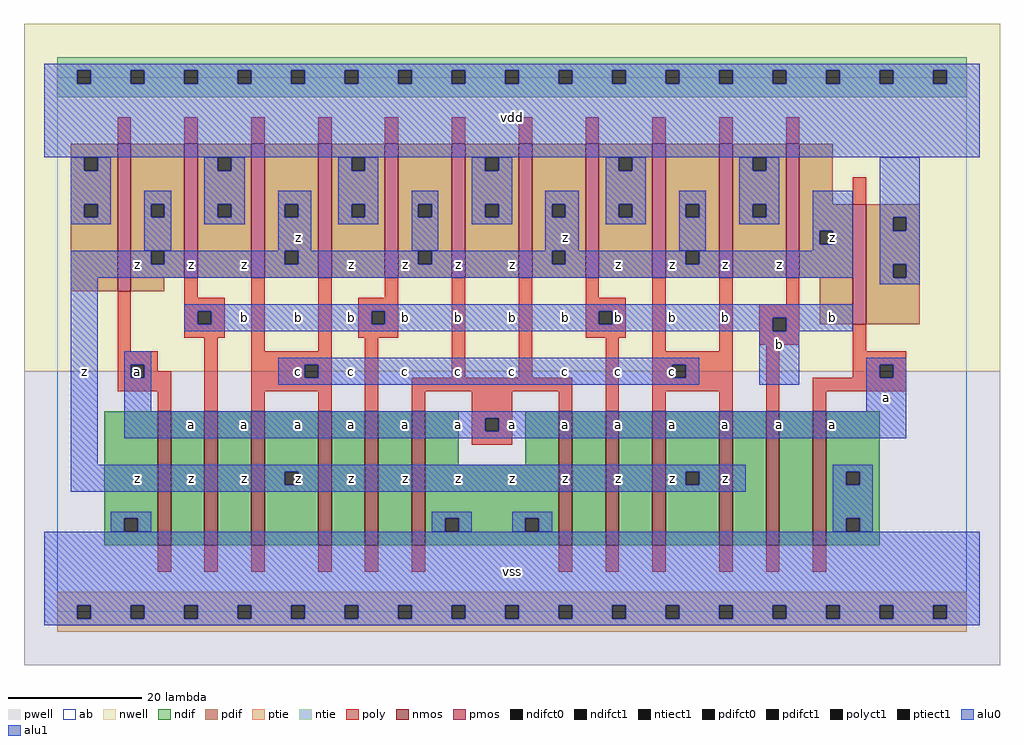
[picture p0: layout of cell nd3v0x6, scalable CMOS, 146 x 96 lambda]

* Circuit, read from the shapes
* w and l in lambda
.subckt nd3v0x6 a b c vdd vss z
M1 n1 a vss vss nfet w=20 l=2
M2 n2 b n1 vss nfet w=20 l=2
M3 z c n2 vss nfet w=20 l=2
M4 n3 c z vss nfet w=20 l=2
M5 n4 b n3 vss nfet w=20 l=2
M6 vss a n4 vss nfet w=20 l=2
M7 n5 a vss vss nfet w=20 l=2
M8 n6 b n5 vss nfet w=20 l=2
M9 z c n6 vss nfet w=20 l=2
M10 n7 c z vss nfet w=20 l=2
M11 n8 b n7 vss nfet w=20 l=2
M12 vss a n8 vss nfet w=20 l=2
M13 z a vdd vdd pfet w=22 l=2
M14 vdd b z vdd pfet w=20 l=2 m=4
M15 z c vdd vdd pfet w=20 l=2 m=4
M16 vdd a z vdd pfet w=20 l=2 m=2
M17 vdd a z vdd pfet w=18 l=2
.ends

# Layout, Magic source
magic
tech scmos
<< ab >>
rect 0 0 136 80
<< nwell >>
rect -5 36 141 88
<< pwell >>
rect -5 -8 141 36
<< poly >>
rect 9 70 11 74
rect 19 70 21 74
rect 29 70 31 74
rect 39 70 41 74
rect 49 70 51 74
rect 59 70 61 74
rect 69 70 71 74
rect 79 70 81 74
rect 89 70 91 74
rect 99 70 101 74
rect 109 70 111 74
rect 119 61 121 65
rect 9 39 11 48
rect 19 47 21 50
rect 19 45 25 47
rect 19 43 21 45
rect 23 43 25 45
rect 19 41 25 43
rect 9 37 15 39
rect 9 35 11 37
rect 13 36 15 37
rect 13 35 17 36
rect 9 33 17 35
rect 15 30 17 33
rect 22 30 24 41
rect 29 39 31 50
rect 39 39 41 50
rect 49 47 51 50
rect 45 45 51 47
rect 45 43 47 45
rect 49 43 51 45
rect 45 41 51 43
rect 29 37 41 39
rect 29 35 37 37
rect 39 35 41 37
rect 29 33 41 35
rect 29 30 31 33
rect 39 30 41 33
rect 46 30 48 41
rect 59 35 61 50
rect 69 35 71 50
rect 79 47 81 50
rect 79 45 85 47
rect 79 43 81 45
rect 83 43 85 45
rect 79 41 85 43
rect 53 33 77 35
rect 53 30 55 33
rect 62 29 68 33
rect 75 30 77 33
rect 82 30 84 41
rect 89 39 91 50
rect 99 39 101 50
rect 109 46 111 50
rect 105 44 111 46
rect 105 42 107 44
rect 109 42 111 44
rect 105 40 111 42
rect 89 37 101 39
rect 89 35 92 37
rect 94 35 101 37
rect 89 33 101 35
rect 89 30 91 33
rect 99 30 101 33
rect 106 30 108 40
rect 119 39 121 43
rect 119 37 127 39
rect 119 35 123 37
rect 125 35 127 37
rect 113 33 127 35
rect 113 30 115 33
rect 62 27 64 29
rect 66 27 68 29
rect 62 25 68 27
rect 15 6 17 10
rect 22 6 24 10
rect 29 6 31 10
rect 39 6 41 10
rect 46 6 48 10
rect 53 6 55 10
rect 75 6 77 10
rect 82 6 84 10
rect 89 6 91 10
rect 99 6 101 10
rect 106 6 108 10
rect 113 6 115 10
<< ndif >>
rect 7 14 15 30
rect 7 12 10 14
rect 12 12 15 14
rect 7 10 15 12
rect 17 10 22 30
rect 24 10 29 30
rect 31 21 39 30
rect 31 19 34 21
rect 36 19 39 21
rect 31 10 39 19
rect 41 10 46 30
rect 48 10 53 30
rect 55 22 60 30
rect 70 22 75 30
rect 55 14 75 22
rect 55 12 58 14
rect 60 12 70 14
rect 72 12 75 14
rect 55 10 75 12
rect 77 10 82 30
rect 84 10 89 30
rect 91 21 99 30
rect 91 19 94 21
rect 96 19 99 21
rect 91 10 99 19
rect 101 10 106 30
rect 108 10 113 30
rect 115 21 123 30
rect 115 19 118 21
rect 120 19 123 21
rect 115 14 123 19
rect 115 12 118 14
rect 120 12 123 14
rect 115 10 123 12
<< pdif >>
rect 2 68 9 70
rect 2 66 4 68
rect 6 66 9 68
rect 2 61 9 66
rect 2 59 4 61
rect 6 59 9 61
rect 2 48 9 59
rect 11 61 19 70
rect 11 59 14 61
rect 16 59 19 61
rect 11 54 19 59
rect 11 52 14 54
rect 16 52 19 54
rect 11 50 19 52
rect 21 68 29 70
rect 21 66 24 68
rect 26 66 29 68
rect 21 61 29 66
rect 21 59 24 61
rect 26 59 29 61
rect 21 50 29 59
rect 31 61 39 70
rect 31 59 34 61
rect 36 59 39 61
rect 31 54 39 59
rect 31 52 34 54
rect 36 52 39 54
rect 31 50 39 52
rect 41 68 49 70
rect 41 66 44 68
rect 46 66 49 68
rect 41 61 49 66
rect 41 59 44 61
rect 46 59 49 61
rect 41 50 49 59
rect 51 61 59 70
rect 51 59 54 61
rect 56 59 59 61
rect 51 54 59 59
rect 51 52 54 54
rect 56 52 59 54
rect 51 50 59 52
rect 61 68 69 70
rect 61 66 64 68
rect 66 66 69 68
rect 61 61 69 66
rect 61 59 64 61
rect 66 59 69 61
rect 61 50 69 59
rect 71 61 79 70
rect 71 59 74 61
rect 76 59 79 61
rect 71 54 79 59
rect 71 52 74 54
rect 76 52 79 54
rect 71 50 79 52
rect 81 68 89 70
rect 81 66 84 68
rect 86 66 89 68
rect 81 61 89 66
rect 81 59 84 61
rect 86 59 89 61
rect 81 50 89 59
rect 91 61 99 70
rect 91 59 94 61
rect 96 59 99 61
rect 91 54 99 59
rect 91 52 94 54
rect 96 52 99 54
rect 91 50 99 52
rect 101 68 109 70
rect 101 66 104 68
rect 106 66 109 68
rect 101 61 109 66
rect 101 59 104 61
rect 106 59 109 61
rect 101 50 109 59
rect 111 61 116 70
rect 111 57 119 61
rect 111 55 114 57
rect 116 55 119 57
rect 111 50 119 55
rect 11 48 16 50
rect 114 43 119 50
rect 121 59 129 61
rect 121 57 125 59
rect 127 57 129 59
rect 121 52 129 57
rect 121 50 125 52
rect 127 50 129 52
rect 121 43 129 50
<< alu1 >>
rect -2 81 138 82
rect -2 79 3 81
rect 5 79 11 81
rect 13 79 19 81
rect 21 79 27 81
rect 29 79 35 81
rect 37 79 43 81
rect 45 79 51 81
rect 53 79 59 81
rect 61 79 67 81
rect 69 79 75 81
rect 77 79 83 81
rect 85 79 91 81
rect 93 79 99 81
rect 101 79 107 81
rect 109 79 115 81
rect 117 79 123 81
rect 125 79 131 81
rect 133 79 138 81
rect -2 68 138 79
rect 33 61 38 63
rect 33 59 34 61
rect 36 59 38 61
rect 33 54 38 59
rect 73 61 78 63
rect 73 59 74 61
rect 76 59 78 61
rect 73 54 78 59
rect 113 57 119 63
rect 113 55 114 57
rect 116 55 119 57
rect 113 54 119 55
rect 2 52 14 54
rect 16 52 34 54
rect 36 52 54 54
rect 56 52 74 54
rect 76 52 94 54
rect 96 52 119 54
rect 2 50 119 52
rect 2 22 6 50
rect 19 45 119 46
rect 19 43 21 45
rect 23 43 47 45
rect 49 43 81 45
rect 83 44 119 45
rect 83 43 107 44
rect 19 42 107 43
rect 109 42 119 44
rect 10 37 14 39
rect 10 35 11 37
rect 13 35 14 37
rect 10 30 14 35
rect 33 37 96 38
rect 33 35 37 37
rect 39 35 92 37
rect 94 35 96 37
rect 33 34 96 35
rect 105 34 111 42
rect 121 37 127 38
rect 121 35 123 37
rect 125 35 127 37
rect 121 30 127 35
rect 10 29 127 30
rect 10 27 64 29
rect 66 27 127 29
rect 10 26 127 27
rect 2 21 103 22
rect 2 19 34 21
rect 36 19 94 21
rect 96 19 103 21
rect 2 18 103 19
rect -2 1 138 12
rect -2 -1 3 1
rect 5 -1 11 1
rect 13 -1 19 1
rect 21 -1 27 1
rect 29 -1 35 1
rect 37 -1 43 1
rect 45 -1 51 1
rect 53 -1 59 1
rect 61 -1 67 1
rect 69 -1 75 1
rect 77 -1 83 1
rect 85 -1 91 1
rect 93 -1 99 1
rect 101 -1 107 1
rect 109 -1 115 1
rect 117 -1 123 1
rect 125 -1 131 1
rect 133 -1 138 1
rect -2 -2 138 -1
<< ptie >>
rect 0 1 136 3
rect 0 -1 3 1
rect 5 -1 11 1
rect 13 -1 19 1
rect 21 -1 27 1
rect 29 -1 35 1
rect 37 -1 43 1
rect 45 -1 51 1
rect 53 -1 59 1
rect 61 -1 67 1
rect 69 -1 75 1
rect 77 -1 83 1
rect 85 -1 91 1
rect 93 -1 99 1
rect 101 -1 107 1
rect 109 -1 115 1
rect 117 -1 123 1
rect 125 -1 131 1
rect 133 -1 136 1
rect 0 -3 136 -1
<< ntie >>
rect 0 81 136 83
rect 0 79 3 81
rect 5 79 11 81
rect 13 79 19 81
rect 21 79 27 81
rect 29 79 35 81
rect 37 79 43 81
rect 45 79 51 81
rect 53 79 59 81
rect 61 79 67 81
rect 69 79 75 81
rect 77 79 83 81
rect 85 79 91 81
rect 93 79 99 81
rect 101 79 107 81
rect 109 79 115 81
rect 117 79 123 81
rect 125 79 131 81
rect 133 79 136 81
rect 0 77 136 79
<< nmos >>
rect 15 10 17 30
rect 22 10 24 30
rect 29 10 31 30
rect 39 10 41 30
rect 46 10 48 30
rect 53 10 55 30
rect 75 10 77 30
rect 82 10 84 30
rect 89 10 91 30
rect 99 10 101 30
rect 106 10 108 30
rect 113 10 115 30
<< pmos >>
rect 9 48 11 70
rect 19 50 21 70
rect 29 50 31 70
rect 39 50 41 70
rect 49 50 51 70
rect 59 50 61 70
rect 69 50 71 70
rect 79 50 81 70
rect 89 50 91 70
rect 99 50 101 70
rect 109 50 111 70
rect 119 43 121 61
<< polyct1 >>
rect 21 43 23 45
rect 11 35 13 37
rect 47 43 49 45
rect 37 35 39 37
rect 81 43 83 45
rect 107 42 109 44
rect 92 35 94 37
rect 123 35 125 37
rect 64 27 66 29
<< ndifct0 >>
rect 10 12 12 14
rect 58 12 60 14
rect 70 12 72 14
rect 118 19 120 21
rect 118 12 120 14
<< ndifct1 >>
rect 34 19 36 21
rect 94 19 96 21
<< ntiect1 >>
rect 3 79 5 81
rect 11 79 13 81
rect 19 79 21 81
rect 27 79 29 81
rect 35 79 37 81
rect 43 79 45 81
rect 51 79 53 81
rect 59 79 61 81
rect 67 79 69 81
rect 75 79 77 81
rect 83 79 85 81
rect 91 79 93 81
rect 99 79 101 81
rect 107 79 109 81
rect 115 79 117 81
rect 123 79 125 81
rect 131 79 133 81
<< ptiect1 >>
rect 3 -1 5 1
rect 11 -1 13 1
rect 19 -1 21 1
rect 27 -1 29 1
rect 35 -1 37 1
rect 43 -1 45 1
rect 51 -1 53 1
rect 59 -1 61 1
rect 67 -1 69 1
rect 75 -1 77 1
rect 83 -1 85 1
rect 91 -1 93 1
rect 99 -1 101 1
rect 107 -1 109 1
rect 115 -1 117 1
rect 123 -1 125 1
rect 131 -1 133 1
<< pdifct0 >>
rect 4 66 6 68
rect 4 59 6 61
rect 14 59 16 61
rect 24 66 26 68
rect 24 59 26 61
rect 44 66 46 68
rect 44 59 46 61
rect 54 59 56 61
rect 64 66 66 68
rect 64 59 66 61
rect 84 66 86 68
rect 84 59 86 61
rect 94 59 96 61
rect 104 66 106 68
rect 104 59 106 61
rect 125 57 127 59
rect 125 50 127 52
<< pdifct1 >>
rect 14 52 16 54
rect 34 59 36 61
rect 34 52 36 54
rect 54 52 56 54
rect 74 59 76 61
rect 74 52 76 54
rect 94 52 96 54
rect 114 55 116 57
<< alu0 >>
rect 2 66 4 68
rect 6 66 8 68
rect 2 61 8 66
rect 22 66 24 68
rect 26 66 28 68
rect 2 59 4 61
rect 6 59 8 61
rect 2 58 8 59
rect 13 61 17 63
rect 13 59 14 61
rect 16 59 17 61
rect 13 54 17 59
rect 22 61 28 66
rect 42 66 44 68
rect 46 66 48 68
rect 22 59 24 61
rect 26 59 28 61
rect 22 58 28 59
rect 42 61 48 66
rect 62 66 64 68
rect 66 66 68 68
rect 42 59 44 61
rect 46 59 48 61
rect 42 58 48 59
rect 53 61 57 63
rect 53 59 54 61
rect 56 59 57 61
rect 53 54 57 59
rect 62 61 68 66
rect 82 66 84 68
rect 86 66 88 68
rect 62 59 64 61
rect 66 59 68 61
rect 62 58 68 59
rect 82 61 88 66
rect 102 66 104 68
rect 106 66 108 68
rect 82 59 84 61
rect 86 59 88 61
rect 82 58 88 59
rect 93 61 97 63
rect 93 59 94 61
rect 96 59 97 61
rect 93 54 97 59
rect 102 61 108 66
rect 102 59 104 61
rect 106 59 108 61
rect 102 58 108 59
rect 123 59 129 68
rect 123 57 125 59
rect 127 57 129 59
rect 123 52 129 57
rect 123 50 125 52
rect 127 50 129 52
rect 123 49 129 50
rect 116 21 122 22
rect 116 19 118 21
rect 120 19 122 21
rect 8 14 14 15
rect 8 12 10 14
rect 12 12 14 14
rect 56 14 62 15
rect 56 12 58 14
rect 60 12 62 14
rect 68 14 74 15
rect 68 12 70 14
rect 72 12 74 14
rect 116 14 122 19
rect 116 12 118 14
rect 120 12 122 14
<< labels >>
rlabel alu1 20 28 20 28 6 a
rlabel alu1 20 20 20 20 6 z
rlabel alu1 12 20 12 20 6 z
rlabel alu1 4 36 4 36 6 z
rlabel polyct1 12 36 12 36 6 a
rlabel alu1 12 52 12 52 6 z
rlabel alu1 20 52 20 52 6 z
rlabel alu1 28 20 28 20 6 z
rlabel alu1 28 28 28 28 6 a
rlabel alu1 44 28 44 28 6 a
rlabel alu1 44 20 44 20 6 z
rlabel alu1 36 28 36 28 6 a
rlabel alu1 36 20 36 20 6 z
rlabel alu1 28 44 28 44 6 b
rlabel alu1 44 44 44 44 6 b
rlabel alu1 44 36 44 36 6 c
rlabel alu1 36 44 36 44 6 b
rlabel alu1 36 36 36 36 6 c
rlabel alu1 44 52 44 52 6 z
rlabel alu1 28 52 28 52 6 z
rlabel alu1 36 56 36 56 6 z
rlabel alu1 68 6 68 6 6 vss
rlabel alu1 52 20 52 20 6 z
rlabel alu1 52 28 52 28 6 a
rlabel alu1 68 28 68 28 6 a
rlabel alu1 76 28 76 28 6 a
rlabel alu1 76 20 76 20 6 z
rlabel alu1 68 20 68 20 6 z
rlabel alu1 60 28 60 28 6 a
rlabel alu1 60 20 60 20 6 z
rlabel alu1 52 36 52 36 6 c
rlabel alu1 52 44 52 44 6 b
rlabel alu1 68 44 68 44 6 b
rlabel alu1 76 44 76 44 6 b
rlabel alu1 76 36 76 36 6 c
rlabel alu1 68 36 68 36 6 c
rlabel alu1 60 44 60 44 6 b
rlabel alu1 60 36 60 36 6 c
rlabel alu1 60 52 60 52 6 z
rlabel alu1 68 52 68 52 6 z
rlabel alu1 52 52 52 52 6 z
rlabel alu1 76 56 76 56 6 z
rlabel alu1 68 74 68 74 6 vdd
rlabel alu1 84 20 84 20 6 z
rlabel alu1 84 28 84 28 6 a
rlabel alu1 92 28 92 28 6 a
rlabel alu1 108 28 108 28 6 a
rlabel alu1 100 28 100 28 6 a
rlabel alu1 100 20 100 20 6 z
rlabel alu1 92 20 92 20 6 z
rlabel alu1 84 36 84 36 6 c
rlabel alu1 84 44 84 44 6 b
rlabel alu1 92 44 92 44 6 b
rlabel alu1 108 40 108 40 6 b
rlabel alu1 100 44 100 44 6 b
rlabel alu1 92 36 92 36 6 c
rlabel alu1 92 52 92 52 6 z
rlabel alu1 108 52 108 52 6 z
rlabel alu1 100 52 100 52 6 z
rlabel alu1 84 52 84 52 6 z
rlabel alu1 116 28 116 28 6 a
rlabel alu1 124 32 124 32 6 a
rlabel alu1 116 44 116 44 6 b
rlabel alu1 116 56 116 56 6 z
<< end >>
